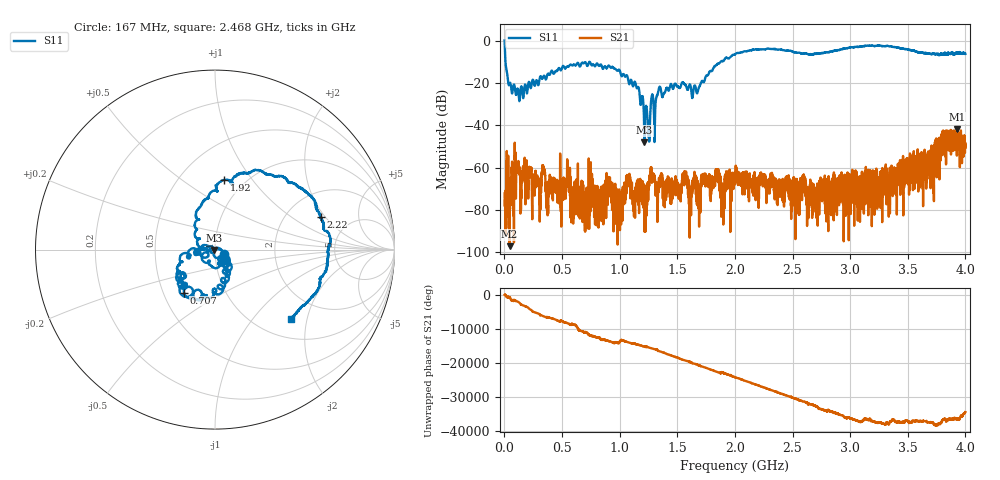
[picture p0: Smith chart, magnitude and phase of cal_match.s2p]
!Created with skrf (http://scikit-rf.org).
# GHz S RI R 50.0
!freq ReS11 ImS11 ReS21 ImS21 ReS12 ImS12 ReS22 ImS22
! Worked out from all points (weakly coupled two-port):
!   4000 points, 1 MHz to 4 GHz, reference 50 ohm
!   highest |S21| = -41.94 dB at 3.928 GHz (marker M1); lowest = -97.1 dB at 44 MHz (marker M2)
!   lowest |S11| = -48.1 dB at 1.215 GHz (marker M3), VSWR 1.01, Z = 49.7 - j0.227 ohm
!   |S11| at or under -10 dB: 8.413 MHz to 1.876 GHz (1.868 GHz wide, 198 % of centre)
!   S12 and S22 are empty: the file has one direction only
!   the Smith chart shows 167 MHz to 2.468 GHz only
!   S11 on the Smith chart (normalised r, x): 167 MHz: 1.10, -0.05; 707 MHz: 0.64, -0.33; 1.92 GHz: 0.80, +0.74; 2.22 GHz: 3.05, +1.81; 2.468 GHz: 1.38, -1.60
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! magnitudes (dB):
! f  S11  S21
! 1 MHz  0.0  -72.2
! 44 MHz  -20.3  -97.1
! 106 MHz  -24.2  -59.5
! 167 MHz  -25.3  -61.6
! 668 MHz  -10.8  -69.8
! 707 MHz  -10.6  -72.8
! 903 MHz  -11.8  -67.6
! 999 MHz  -14.1  -74.0
! 1.05 GHz  -17.0  -69.4
! 1.215 GHz  -48.1  -74.1
! 1.25 GHz  -44.2  -66.7
! 1.277 GHz  -26.5  -62.6
! 1.334 GHz  -24.2  -69.8
! 1.678 GHz  -23.9  -68.7
! 1.92 GHz  -8.2  -63.9
! 2.001 GHz  -6.5  -67.9
! 2.22 GHz  -4.2  -68.0
! 2.468 GHz  -4.8  -73.9
! 2.667 GHz  -6.5  -75.7
! 3.334 GHz  -2.7  -69.1
! 3.928 GHz  -5.6  -41.9
! 4 GHz  -6.4  -49.1
